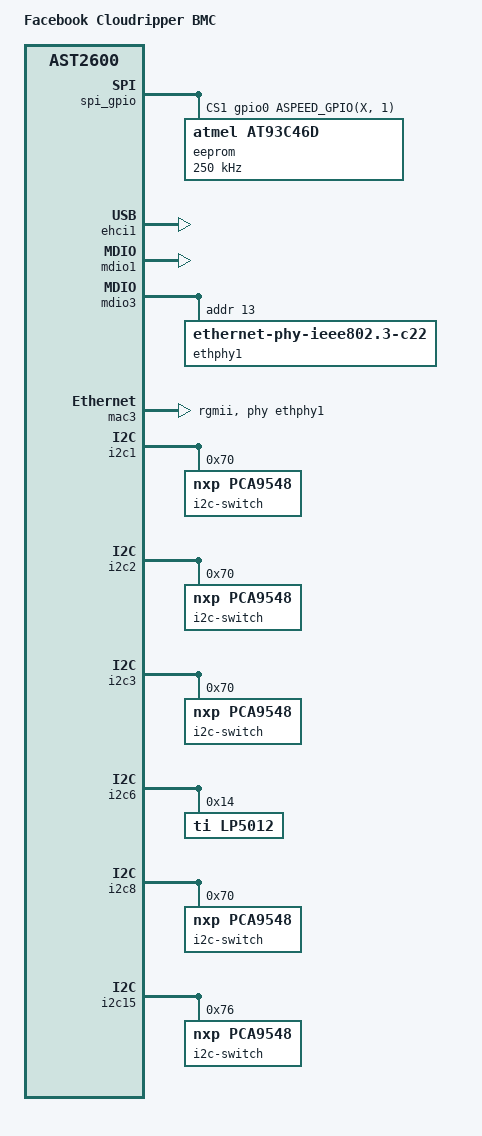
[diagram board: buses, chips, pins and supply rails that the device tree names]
// SPDX-License-Identifier: GPL-2.0+
// Copyright (c) 2020 Facebook Inc.

/dts-v1/;

#include <dt-bindings/leds/common.h>
#include "ast2600-facebook-netbmc-common.dtsi"

/ {
	model = "Facebook Cloudripper BMC";
	compatible = "facebook,cloudripper-bmc", "aspeed,ast2600";

	aliases {
		/*
		 * PCA9548 (1-0070) provides 8 channels connecting to
		 * SMB (Switch Main Board).
		 */
		i2c16 = &imux16;
		i2c17 = &imux17;
		i2c18 = &imux18;
		i2c19 = &imux19;
		i2c20 = &imux20;
		i2c21 = &imux21;
		i2c22 = &imux22;
		i2c23 = &imux23;

		/*
		 * PCA9548 (2-0070) provides 8 channels connecting to
		 * SCM (System Controller Module).
		 */
		i2c24 = &imux24;
		i2c25 = &imux25;
		i2c26 = &imux26;
		i2c27 = &imux27;
		i2c28 = &imux28;
		i2c29 = &imux29;
		i2c30 = &imux30;
		i2c31 = &imux31;

		/*
		 * PCA9548 (3-0070) provides 8 channels connecting to
		 * SMB (Switch Main Board).
		 */
		i2c32 = &imux32;
		i2c33 = &imux33;
		i2c34 = &imux34;
		i2c35 = &imux35;
		i2c36 = &imux36;
		i2c37 = &imux37;
		i2c38 = &imux38;
		i2c39 = &imux39;

		/*
		 * PCA9548 (8-0070) provides 8 channels connecting to
		 * PDB (Power Delivery Board).
		 */
		i2c40 = &imux40;
		i2c41 = &imux41;
		i2c42 = &imux42;
		i2c43 = &imux43;
		i2c44 = &imux44;
		i2c45 = &imux45;
		i2c46 = &imux46;
		i2c47 = &imux47;

		/*
		 * PCA9548 (15-0076) provides 8 channels connecting to
		 * FCM (Fan Controller Module).
		 */
		i2c48 = &imux48;
		i2c49 = &imux49;
		i2c50 = &imux50;
		i2c51 = &imux51;
		i2c52 = &imux52;
		i2c53 = &imux53;
		i2c54 = &imux54;
		i2c55 = &imux55;
	};

	spi_gpio: spi-gpio {
		num-chipselects = <2>;
		cs-gpios = <&gpio0 ASPEED_GPIO(X, 0) GPIO_ACTIVE_LOW>,
			   <&gpio0 ASPEED_GPIO(X, 1) GPIO_ACTIVE_HIGH>;

		eeprom@1 {
			compatible = "atmel,at93c46d";
			spi-max-frequency = <250000>;
			data-size = <16>;
			spi-cs-high;
			reg = <1>;
		};
	};
};

&ehci1 {
	status = "okay";
};

/*
 * "mdio1" is connected to the MDC/MDIO interface of the on-board
 * management switch (whose ports are connected to BMC, Host and front
 * panel ethernet port).
 */
&mdio1 {
	status = "okay";
};

&mdio3 {
	status = "okay";

	ethphy1: ethernet-phy@13 {
		compatible = "ethernet-phy-ieee802.3-c22";
		reg = <0x0d>;
	};
};

&mac3 {
	status = "okay";
	phy-mode = "rgmii";
	phy-handle = <&ethphy1>;
	pinctrl-names = "default";
	pinctrl-0 = <&pinctrl_rgmii4_default>;
};

&i2c0 {
	multi-master;
	bus-frequency = <1000000>;
};

&i2c1 {
	/*
	 * PCA9548 (1-0070) provides 8 channels connecting to SMB (Switch
	 * Main Board).
	 */
	i2c-switch@70 {
		compatible = "nxp,pca9548";
		#address-cells = <1>;
		#size-cells = <0>;
		reg = <0x70>;
		i2c-mux-idle-disconnect;

		imux16: i2c@0 {
			#address-cells = <1>;
			#size-cells = <0>;
			reg = <0>;
		};

		imux17: i2c@1 {
			#address-cells = <1>;
			#size-cells = <0>;
			reg = <1>;
		};

		imux18: i2c@2 {
			#address-cells = <1>;
			#size-cells = <0>;
			reg = <2>;
		};

		imux19: i2c@3 {
			#address-cells = <1>;
			#size-cells = <0>;
			reg = <3>;
		};

		imux20: i2c@4 {
			#address-cells = <1>;
			#size-cells = <0>;
			reg = <4>;
		};

		imux21: i2c@5 {
			#address-cells = <1>;
			#size-cells = <0>;
			reg = <5>;
		};

		imux22: i2c@6 {
			#address-cells = <1>;
			#size-cells = <0>;
			reg = <6>;
		};

		imux23: i2c@7 {
			#address-cells = <1>;
			#size-cells = <0>;
			reg = <7>;
		};
	};
};

&i2c2 {
	/*
	 * PCA9548 (2-0070) provides 8 channels connecting to SCM (System
	 * Controller Module).
	 */
	i2c-switch@70 {
		compatible = "nxp,pca9548";
		#address-cells = <1>;
		#size-cells = <0>;
		reg = <0x70>;
		i2c-mux-idle-disconnect;

		imux24: i2c@0 {
			#address-cells = <1>;
			#size-cells = <0>;
			reg = <0>;
		};

		imux25: i2c@1 {
			#address-cells = <1>;
			#size-cells = <0>;
			reg = <1>;
		};

		imux26: i2c@2 {
			#address-cells = <1>;
			#size-cells = <0>;
			reg = <2>;
		};

		imux27: i2c@3 {
			#address-cells = <1>;
			#size-cells = <0>;
			reg = <3>;
		};

		imux28: i2c@4 {
			#address-cells = <1>;
			#size-cells = <0>;
			reg = <4>;
		};

		imux29: i2c@5 {
			#address-cells = <1>;
			#size-cells = <0>;
			reg = <5>;
		};

		imux30: i2c@6 {
			#address-cells = <1>;
			#size-cells = <0>;
			reg = <6>;
		};

		imux31: i2c@7 {
			#address-cells = <1>;
			#size-cells = <0>;
			reg = <7>;
		};
	};
};

&i2c3 {
	/*
	 * PCA9548 (3-0070) provides 8 channels connecting to SMB (Switch
	 * Main Board).
	 */
	i2c-switch@70 {
		compatible = "nxp,pca9548";
		#address-cells = <1>;
		#size-cells = <0>;
		reg = <0x70>;
		i2c-mux-idle-disconnect;

		imux32: i2c@0 {
			#address-cells = <1>;
			#size-cells = <0>;
			reg = <0>;
		};

		imux33: i2c@1 {
			#address-cells = <1>;
			#size-cells = <0>;
			reg = <1>;
		};

		imux34: i2c@2 {
			#address-cells = <1>;
			#size-cells = <0>;
			reg = <2>;
		};

		imux35: i2c@3 {
			#address-cells = <1>;
			#size-cells = <0>;
			reg = <3>;
		};

		imux36: i2c@4 {
			#address-cells = <1>;
			#size-cells = <0>;
			reg = <4>;
		};

		imux37: i2c@5 {
			#address-cells = <1>;
			#size-cells = <0>;
			reg = <5>;
		};

		imux38: i2c@6 {
			#address-cells = <1>;
			#size-cells = <0>;
			reg = <6>;
		};

		imux39: i2c@7 {
			#address-cells = <1>;
			#size-cells = <0>;
			reg = <7>;
		};
	};
};

&i2c6 {
	lp5012@14 {
		compatible = "ti,lp5012";
		reg = <0x14>;
		#address-cells = <1>;
		#size-cells = <0>;

		multi-led@0 {
			#address-cells = <1>;
			#size-cells = <0>;
			reg = <0>;
			color = <LED_COLOR_ID_MULTI>;
			function = LED_FUNCTION_ACTIVITY;
			label = "sys";

			led@0 {
				reg = <0>;
				color = <LED_COLOR_ID_RED>;
			};

			led@1 {
				reg = <1>;
				color = <LED_COLOR_ID_BLUE>;
			};

			led@2 {
				reg = <2>;
				color = <LED_COLOR_ID_GREEN>;
			};
		};

		multi-led@1 {
			#address-cells = <1>;
			#size-cells = <0>;
			reg = <1>;
			color = <LED_COLOR_ID_MULTI>;
			function = LED_FUNCTION_ACTIVITY;
			label = "fan";

			led@0 {
				reg = <0>;
				color = <LED_COLOR_ID_RED>;
			};

			led@1 {
				reg = <1>;
				color = <LED_COLOR_ID_BLUE>;
			};

			led@2 {
				reg = <2>;
				color = <LED_COLOR_ID_GREEN>;
			};
		};

		multi-led@2 {
			#address-cells = <1>;
			#size-cells = <0>;
			reg = <2>;
			color = <LED_COLOR_ID_MULTI>;
			function = LED_FUNCTION_ACTIVITY;
			label = "psu";

			led@0 {
				reg = <0>;
				color = <LED_COLOR_ID_RED>;
			};

			led@1 {
				reg = <1>;
				color = <LED_COLOR_ID_BLUE>;
			};

			led@2 {
				reg = <2>;
				color = <LED_COLOR_ID_GREEN>;
			};
		};

		multi-led@3 {
			#address-cells = <1>;
			#size-cells = <0>;
			reg = <3>;
			color = <LED_COLOR_ID_MULTI>;
			function = LED_FUNCTION_ACTIVITY;
			label = "scm";

			led@0 {
				reg = <0>;
				color = <LED_COLOR_ID_RED>;
			};

			led@1 {
				reg = <1>;
				color = <LED_COLOR_ID_BLUE>;
			};

			led@2 {
				reg = <2>;
				color = <LED_COLOR_ID_GREEN>;
			};
		};
	};
};

&i2c8 {
	/*
	 * PCA9548 (8-0070) provides 8 channels connecting to PDB (Power
	 * Delivery Board).
	 */
	i2c-switch@70 {
		compatible = "nxp,pca9548";
		#address-cells = <1>;
		#size-cells = <0>;
		reg = <0x70>;
		i2c-mux-idle-disconnect;

		imux40: i2c@0 {
			#address-cells = <1>;
			#size-cells = <0>;
			reg = <0>;
		};

		imux41: i2c@1 {
			#address-cells = <1>;
			#size-cells = <0>;
			reg = <1>;
		};

		imux42: i2c@2 {
			#address-cells = <1>;
			#size-cells = <0>;
			reg = <2>;
		};

		imux43: i2c@3 {
			#address-cells = <1>;
			#size-cells = <0>;
			reg = <3>;
		};

		imux44: i2c@4 {
			#address-cells = <1>;
			#size-cells = <0>;
			reg = <4>;
		};

		imux45: i2c@5 {
			#address-cells = <1>;
			#size-cells = <0>;
			reg = <5>;
		};

		imux46: i2c@6 {
			#address-cells = <1>;
			#size-cells = <0>;
			reg = <6>;
		};

		imux47: i2c@7 {
			#address-cells = <1>;
			#size-cells = <0>;
			reg = <7>;
		};

	};
};

&i2c15 {
	/*
	 * PCA9548 (15-0076) provides 8 channels connecting to FCM (Fan
	 * Controller Module).
	 */
	i2c-switch@76 {
		compatible = "nxp,pca9548";
		#address-cells = <1>;
		#size-cells = <0>;
		reg = <0x76>;
		i2c-mux-idle-disconnect;

		imux48: i2c@0 {
			#address-cells = <1>;
			#size-cells = <0>;
			reg = <0>;
		};

		imux49: i2c@1 {
			#address-cells = <1>;
			#size-cells = <0>;
			reg = <1>;
		};

		imux50: i2c@2 {
			#address-cells = <1>;
			#size-cells = <0>;
			reg = <2>;
		};

		imux51: i2c@3 {
			#address-cells = <1>;
			#size-cells = <0>;
			reg = <3>;
		};

		imux52: i2c@4 {
			#address-cells = <1>;
			#size-cells = <0>;
			reg = <4>;
		};

		imux53: i2c@5 {
			#address-cells = <1>;
			#size-cells = <0>;
			reg = <5>;
		};

		imux54: i2c@6 {
			#address-cells = <1>;
			#size-cells = <0>;
			reg = <6>;
		};

		imux55: i2c@7 {
			#address-cells = <1>;
			#size-cells = <0>;
			reg = <7>;
		};
	};
};
